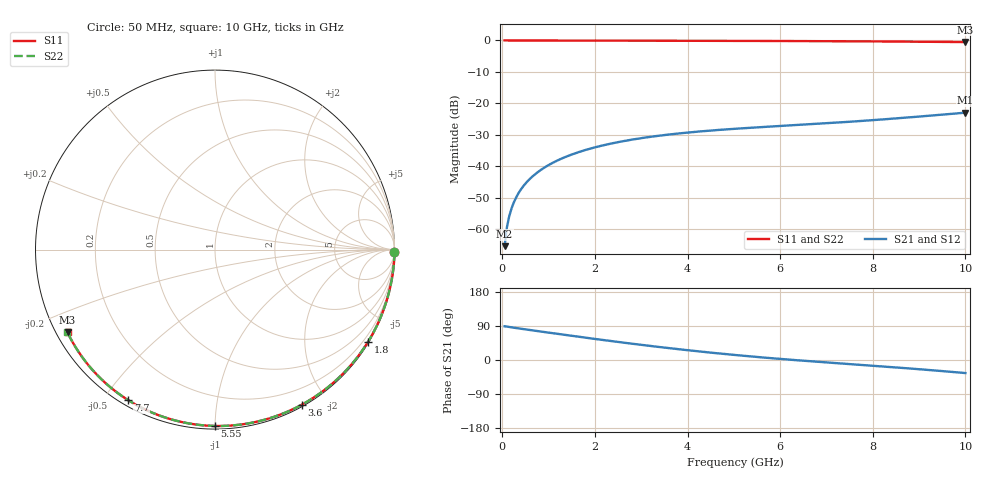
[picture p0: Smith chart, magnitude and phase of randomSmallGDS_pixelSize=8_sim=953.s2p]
! freq	dB(S11)	phase(S11)	dB(S12)	phase(S12)
!  dB(S21)	phase(S21)	dB(S22)	phase(S22)
!S-par simulation data
#  GHz  S  DB  R 50
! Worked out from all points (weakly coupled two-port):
!   200 points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, 50 MHz to 10 GHz, reference 50 ohm
!   highest |S21| = -22.93 dB at 10 GHz (marker M1); lowest = -65.3 dB at 50 MHz (marker M2)
!   lowest |S11| = -0.5 dB at 10 GHz (marker M3), VSWR 33.85, Z = 1.58 - j13.1 ohm
!   |S11| at or under -10 dB: nowhere
!   |S22| runs from -0.5 to 0.0 dB; largest |S21 - S12| = 0
!   S11 on the Smith chart (normalised r, x): 50 MHz: open; 1.8 GHz: 0.03, -3.58; 3.6 GHz: 0.02, -1.71; 5.55 GHz: 0.02, -1.00; 7.7 GHz: 0.02, -0.58; 10 GHz: 0.03, -0.26
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0.05  -0.00 -0.9  -65.33 89.0  -65.33 89.0  -0.00 -0.9
0.1  -0.00 -1.8  -59.31 88.0  -59.31 88.0  -0.00 -1.8
0.15  -0.00 -2.7  -55.80 87.1  -55.80 87.1  -0.00 -2.7
0.2  -0.00 -3.5  -53.32 86.1  -53.32 86.1  -0.00 -3.5
0.25  -0.00 -4.4  -51.39 85.2  -51.39 85.2  -0.00 -4.4
0.35  -0.00 -6.2  -48.50 83.4  -48.50 83.4  -0.00 -6.2
0.5  -0.01 -8.8  -45.45 80.8  -45.45 80.8  -0.01 -8.8
0.7  -0.01 -12.3  -42.58 77.4  -42.58 77.4  -0.01 -12.3
1  -0.02 -17.5  -39.57 72.3  -39.57 72.3  -0.02 -17.5
1.35  -0.03 -23.5  -37.08 66.3  -37.08 66.3  -0.03 -23.5
1.75  -0.04 -30.4  -34.99 59.7  -34.99 59.7  -0.04 -30.4
1.8  -0.04 -31.2  -34.77 58.9  -34.77 58.9  -0.04 -31.2
2.5  -0.06 -42.9  -32.29 47.6  -32.29 47.6  -0.06 -42.9
3.4  -0.08 -57.6  -30.22 34.1  -30.22 34.1  -0.08 -57.6
3.6  -0.09 -60.7  -29.87 31.3  -29.87 31.3  -0.09 -60.7
4.3  -0.11 -71.6  -28.85 22.0  -28.85 22.0  -0.11 -71.6
5.05  -0.13 -82.9  -28.02 12.9  -28.02 12.9  -0.13 -82.9
5.55  -0.15 -90.2  -27.55 7.5  -27.55 7.5  -0.15 -90.2
6.7  -0.21 -106.4  -26.56 -3.7  -26.56 -3.7  -0.21 -106.4
7.7  -0.28 -120.0  -25.62 -12.5  -25.62 -12.5  -0.28 -120.0
8.35  -0.33 -128.6  -24.93 -18.2  -24.93 -18.2  -0.33 -128.7
10  -0.51 -150.7  -22.93 -34.5  -22.93 -34.5  -0.51 -150.7
